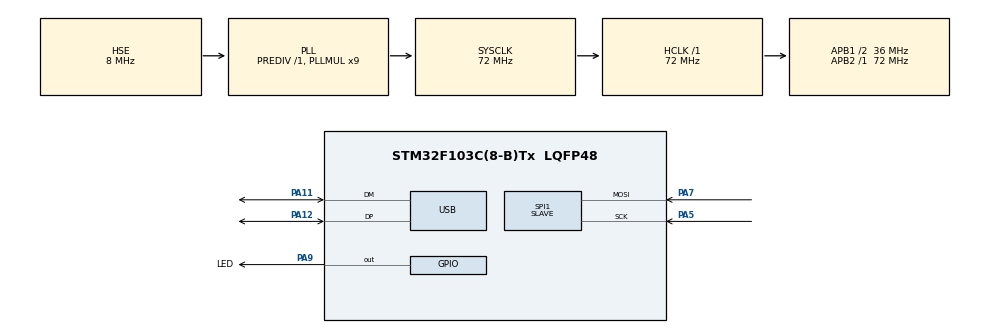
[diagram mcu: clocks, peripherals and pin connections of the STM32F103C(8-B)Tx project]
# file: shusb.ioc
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IWDG.Prescaler=IWDG_PRESCALER_256
Mcu.Family=STM32F1
Mcu.Name=STM32F103C(8-B)Tx
Mcu.Package=LQFP48
NVIC.PriorityGroup=NVIC_PRIORITYGROUP_4
NVIC.SPI1_IRQn=true\:2\:0\:true\:false\:true\:true\:true\:true
NVIC.USB_LP_CAN1_RX0_IRQn=true\:0\:0\:false\:false\:true\:false\:true\:true
PA11.Mode=Device
PA11.Signal=USB_DM
PA12.Mode=Device
PA12.Signal=USB_DP
PA13.Mode=Serial_Wire
PA13.Signal=SYS_JTMS-SWDIO
PA14.Mode=Serial_Wire
PA14.Signal=SYS_JTCK-SWCLK
PA5.Mode=RX_Only_Simplex_Unidirect_Slave
PA5.Signal=SPI1_SCK
PA7.Mode=RX_Only_Simplex_Unidirect_Slave
PA7.Signal=SPI1_MOSI
PA9.GPIO_Label=LED
PA9.Signal=GPIO_Output
PD0-OSC_IN.Mode=HSE-External-Oscillator
PD0-OSC_IN.Signal=RCC_OSC_IN
PD1-OSC_OUT.Mode=HSE-External-Oscillator
PD1-OSC_OUT.Signal=RCC_OSC_OUT
ProjectManager.HeapSize=0x200
ProjectManager.StackSize=0x400
ProjectManager.TargetToolchain=STM32CubeIDE
RCC.AHBFreq_Value=72000000
RCC.APB1CLKDivider=RCC_HCLK_DIV2
RCC.APB1Freq_Value=36000000
RCC.APB1TimFreq_Value=72000000
RCC.APB2Freq_Value=72000000
RCC.APB2TimFreq_Value=72000000
RCC.HCLKFreq_Value=72000000
RCC.PLLMUL=RCC_PLL_MUL9
RCC.SYSCLKFreq_VALUE=72000000
RCC.SYSCLKSource=RCC_SYSCLKSOURCE_PLLCLK
RCC.USBFreq_Value=48000000
RCC.USBPrescaler=RCC_USBCLKSOURCE_PLL_DIV1_5
SPI1.CLKPhase=SPI_PHASE_2EDGE
SPI1.CLKPolarity=SPI_POLARITY_HIGH
SPI1.Direction=SPI_DIRECTION_2LINES_RXONLY
SPI1.FirstBit=SPI_FIRSTBIT_LSB
SPI1.Mode=SPI_MODE_SLAVE
SPI1.VirtualType=VM_SLAVE
USB_DEVICE.CLASS_NAME_FS=CUSTOM_HID
USB_DEVICE.CUSTOM_HID_FS_BINTERVAL=10
USB_DEVICE.MANUFACTURER_STRING=kluhtrust.cz
USB_DEVICE.PRODUCT_STRING_CUSTOMHID_FS=ShoopLERA
USB_DEVICE.USBD_CUSTOMHID_OUTREPORT_BUF_SIZE=8
USB_DEVICE.USBD_CUSTOM_HID_REPORT_DESC_SIZE=63
USB_DEVICE.VirtualMode=CustomHid
USB_DEVICE.VirtualModeFS=Custom_Hid_FS
VP_IWDG_VS_IWDG.Mode=IWDG_Activate
VP_USB_DEVICE_VS_USB_DEVICE_CUSTOM_HID_FS.Mode=CUSTOM_HID_FS
board=custom

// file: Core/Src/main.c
/* USER CODE BEGIN Header */
/**
  ******************************************************************************
  * @file           : main.c
  * @brief          : Main program body
  ******************************************************************************
  * @attention
  *
  * Copyright (c) 2025 STMicroelectronics.
  * All rights reserved.
  *
  * This software is licensed under terms that can be found in the LICENSE file
  * in the root directory of this software component.
  * If no LICENSE file comes with this software, it is provided AS-IS.
  *
  ******************************************************************************
  */
/* USER CODE END Header */
#include "main.h"
#include "usb_device.h"

/* USER CODE BEGIN Includes */
#include <ctype.h>
#include "usbd_custom_hid_if.h"
/* USER CODE END Includes */

/* USER CODE BEGIN PTD */

typedef union {
	  uint8_t  buf[4];
	  struct {
		  uint32_t status:8;	// not SPI transfered
		  uint32_t number:20;
		  uint32_t sign:1;		// 1 = negative
		  uint32_t p2:2;
		  uint32_t unit:1;		// 1 = inches
	  } s;
}DATA;

typedef enum {
	IDLE,
	WAIT,
	SYNC,
	START,
	RECV,
	SEND,
	STOP
} state;

/* USER CODE END PTD */

/* USER CODE BEGIN PD */

#define EMPTY 0
#define RECVD 1
#define ERROR 2

/* USER CODE END PD */

IWDG_HandleTypeDef hiwdg;

SPI_HandleTypeDef hspi1;

/* USER CODE BEGIN PV */

char userbuf[USBD_CUSTOMHID_OUTREPORT_BUF_SIZE];
DATA data;

uint8_t spi_buf[3];

extern uint64_t _estack;

volatile state st = IDLE;

/* USER CODE END PV */

void SystemClock_Config(void);
static void MX_GPIO_Init(void);
static void MX_SPI1_Init(void);
static void MX_IWDG_Init(void);
/* USER CODE BEGIN PFP */
int8_t USBD_CUSTOM_HID_SendReport_FS(uint8_t *report, uint16_t len);
/* USER CODE END PFP */

/* USER CODE BEGIN 0 */

void feed_watchdog()
{
	static uint32_t timeout = 1000;
	uint32_t ctime = HAL_GetTick();
	if (timeout < ctime)
	{
		HAL_IWDG_Refresh(&hiwdg);
		timeout = 1000 + ctime;
	}
}

static inline void clear_data()
{
	memset(&data, EMPTY, sizeof(data));
}

void HAL_SPI_RxCpltCallback(SPI_HandleTypeDef *hspi)
{
	if(hspi->Instance==SPI1)
	{
		if (__HAL_SPI_GET_FLAG(hspi, SPI_FLAG_MODF) || __HAL_SPI_GET_FLAG(hspi, SPI_FLAG_OVR))
		{
			if(RECV == st)
				st = STOP;
		}
		else
		{
			if(RECV == st)
			{
				memcpy(data.buf + 1, spi_buf, sizeof(spi_buf));
				st = SEND;
			}
		}
		/* must be after any transmit to work (why?)*/
		__HAL_SPI_CLEAR_MODFFLAG(hspi);
		__HAL_SPI_CLEAR_OVRFLAG(hspi);
	}
}

void send(char *ch)
{
	uint8_t report[8] = {2,0,74,77};	// shift+home+end

	USBD_CUSTOM_HID_SendReport_FS(report, sizeof(report));
	feed_watchdog();
	HAL_Delay(32);
	feed_watchdog();
	memset(report, 0, sizeof(report));
	USBD_CUSTOM_HID_SendReport_FS(report, sizeof(report));
	feed_watchdog();
	HAL_Delay(32);
	feed_watchdog();

	while (*ch)
	{
		uint8_t i = 2;
		while (i < 8 && *ch)
		{
			if (isdigit((int)*ch))
			{
				report[i] = (*ch - 39) % 10 + 89;
			}
			else
			{
				switch (*ch)
				{
				case 'i': report[i] = 12; break;
				case 'm': report[i] = 16; break;
				case 'n': report[i] = 17; break;
				case ' ': report[i] = 44; break;
				case '-': report[i] = 86; break;
				case '+': report[i] = 87; break;
				case '.': report[i] = 99; break;
				default : ch++; continue;
				};
			}
			for (uint8_t j = 2; j <= i; j++)
			{
				if (i != j)
				{
					if (report[i] == report[j])
					{
						report[i] = 0;
						goto flush;
					}
				}
			}
			ch++;
			i++;
		}
		flush: USBD_CUSTOM_HID_SendReport_FS(report, sizeof(report));
		feed_watchdog();
		HAL_Delay(32);
		feed_watchdog();
		memset(report, 0, sizeof(report));
		USBD_CUSTOM_HID_SendReport_FS(report, sizeof(report));
		feed_watchdog();
		HAL_Delay(32);
	}
}

void data2string(const DATA *data, char *string, uint8_t len) {
	int val = data->s.number;
	if (data->s.unit) {
		val *= 5;
		snprintf(string, len, "%c%01i.%04i in",
				(data->s.sign ? '-' : '+'), val / 10000, val % 10000);
	} else {
		snprintf(string, len, "%c%03i.%02i mm",
				(data->s.sign ? '-' : '+'), val / 100, val % 100);
	}
}

int checkcmd(char *command)
{
	int retval = !strncmp(command,userbuf,sizeof(userbuf));
	if(retval)
		memset(userbuf,0,sizeof(userbuf));
	return retval;
}

/* USER CODE END 0 */

int main(void)
{

  /* USER CODE BEGIN 1 */

	char string[15];

  /* USER CODE END 1 */

  /* MCU Configuration--------------------------------------------------------*/

  /* Reset of all peripherals, Initializes the Flash interface and the Systick. */
  HAL_Init();

  /* Configure the system clock */
  SystemClock_Config();

  /* Initialize all configured peripherals */
  MX_GPIO_Init();
  MX_SPI1_Init();
  MX_USB_DEVICE_Init();
  MX_IWDG_Init();
  /* USER CODE BEGIN 2 */

  HAL_GPIO_WritePin(LED_GPIO_Port, LED_Pin, GPIO_PIN_RESET);

  uint32_t wait = 0;

  /* USER CODE END 2 */

  /* Infinite loop */
  /* USER CODE BEGIN WHILE */

  while (1)
  {
		feed_watchdog();

    /* USER CODE END WHILE */

    /* USER CODE BEGIN 3 */

		switch(st)
		{
		case IDLE:
			if(checkcmd("load"))
			{
				_estack = 0xDEADBEEFCC00FFEEULL;
				HAL_NVIC_SystemReset();
			}
			if((GPIO_PIN_SET == HAL_GPIO_ReadPin(GPIOA, GPIO_PIN_5)) && checkcmd("send"))
			{
				clear_data();
				st = WAIT;
				wait = 1000 + HAL_GetTick();
			}
			break;
		case WAIT:
			if(wait < HAL_GetTick())
			{
				st = STOP;
			}
			if(GPIO_PIN_RESET == HAL_GPIO_ReadPin(GPIOA, GPIO_PIN_5))
				st = SYNC;
			break;
		case SYNC:
			wait = 10 + HAL_GetTick();
			HAL_GPIO_WritePin(LED_GPIO_Port, LED_Pin, GPIO_PIN_SET);
			st = START;
			break;
		case START:
			if(wait < HAL_GetTick())
			{
				st = RECV;
				while(HAL_OK != HAL_SPI_Receive_IT(&hspi1, spi_buf, sizeof(spi_buf)));
				wait = 200 + HAL_GetTick();
			}
			break;
		case RECV:
			if(wait < HAL_GetTick())
			{
				st = STOP;
			}
			// waiting for data
			break;
		case SEND:
			data2string(&data, string, sizeof(string));
			send(string);
			st = STOP;
			break;
		case STOP:
			HAL_GPIO_WritePin(LED_GPIO_Port, LED_Pin, GPIO_PIN_RESET);
			st = IDLE;
			break;
		}
  }
  /* USER CODE END 3 */
}

void SystemClock_Config(void)
{
  RCC_OscInitTypeDef RCC_OscInitStruct = {0};
  RCC_ClkInitTypeDef RCC_ClkInitStruct = {0};
  RCC_PeriphCLKInitTypeDef PeriphClkInit = {0};

  /** Initializes the RCC Oscillators according to the specified parameters
  * in the RCC_OscInitTypeDef structure.
  */
  RCC_OscInitStruct.OscillatorType = RCC_OSCILLATORTYPE_LSI|RCC_OSCILLATORTYPE_HSE;
  RCC_OscInitStruct.HSEState = RCC_HSE_ON;
  RCC_OscInitStruct.HSEPredivValue = RCC_HSE_PREDIV_DIV1;
  RCC_OscInitStruct.HSIState = RCC_HSI_ON;
  RCC_OscInitStruct.LSIState = RCC_LSI_ON;
  RCC_OscInitStruct.PLL.PLLState = RCC_PLL_ON;
  RCC_OscInitStruct.PLL.PLLSource = RCC_PLLSOURCE_HSE;
  RCC_OscInitStruct.PLL.PLLMUL = RCC_PLL_MUL9;
  if (HAL_RCC_OscConfig(&RCC_OscInitStruct) != HAL_OK)
  {
    Error_Handler();
  }

  /** Initializes the CPU, AHB and APB buses clocks
  */
  RCC_ClkInitStruct.ClockType = RCC_CLOCKTYPE_HCLK|RCC_CLOCKTYPE_SYSCLK
                              |RCC_CLOCKTYPE_PCLK1|RCC_CLOCKTYPE_PCLK2;
  RCC_ClkInitStruct.SYSCLKSource = RCC_SYSCLKSOURCE_PLLCLK;
  RCC_ClkInitStruct.AHBCLKDivider = RCC_SYSCLK_DIV1;
  RCC_ClkInitStruct.APB1CLKDivider = RCC_HCLK_DIV2;
  RCC_ClkInitStruct.APB2CLKDivider = RCC_HCLK_DIV1;

  if (HAL_RCC_ClockConfig(&RCC_ClkInitStruct, FLASH_LATENCY_2) != HAL_OK)
  {
    Error_Handler();
  }
  PeriphClkInit.PeriphClockSelection = RCC_PERIPHCLK_USB;
  PeriphClkInit.UsbClockSelection = RCC_USBCLKSOURCE_PLL_DIV1_5;
  if (HAL_RCCEx_PeriphCLKConfig(&PeriphClkInit) != HAL_OK)
  {
    Error_Handler();
  }
}

static void MX_IWDG_Init(void)
{

  /* USER CODE BEGIN IWDG_Init 1 */
#if 1
  /* USER CODE END IWDG_Init 1 */
  hiwdg.Instance = IWDG;
  hiwdg.Init.Prescaler = IWDG_PRESCALER_256;
  hiwdg.Init.Reload = 4095;
  if (HAL_IWDG_Init(&hiwdg) != HAL_OK)
  {
    Error_Handler();
  }
  /* USER CODE BEGIN IWDG_Init 2 */
#endif
  /* USER CODE END IWDG_Init 2 */

}

static void MX_SPI1_Init(void)
{

  /* SPI1 parameter configuration*/
  hspi1.Instance = SPI1;
  hspi1.Init.Mode = SPI_MODE_SLAVE;
  hspi1.Init.Direction = SPI_DIRECTION_2LINES_RXONLY;
  hspi1.Init.DataSize = SPI_DATASIZE_8BIT;
  hspi1.Init.CLKPolarity = SPI_POLARITY_HIGH;
  hspi1.Init.CLKPhase = SPI_PHASE_2EDGE;
  hspi1.Init.NSS = SPI_NSS_SOFT;
  hspi1.Init.FirstBit = SPI_FIRSTBIT_LSB;
  hspi1.Init.TIMode = SPI_TIMODE_DISABLE;
  hspi1.Init.CRCCalculation = SPI_CRCCALCULATION_DISABLE;
  hspi1.Init.CRCPolynomial = 10;
  if (HAL_SPI_Init(&hspi1) != HAL_OK)
  {
    Error_Handler();
  }

}

static void MX_GPIO_Init(void)
{
  GPIO_InitTypeDef GPIO_InitStruct = {0};

  /* GPIO Ports Clock Enable */
  __HAL_RCC_GPIOD_CLK_ENABLE();
  __HAL_RCC_GPIOA_CLK_ENABLE();

  /*Configure GPIO pin Output Level */
  HAL_GPIO_WritePin(LED_GPIO_Port, LED_Pin, GPIO_PIN_RESET);

  /*Configure GPIO pin : LED_Pin */
  GPIO_InitStruct.Pin = LED_Pin;
  GPIO_InitStruct.Mode = GPIO_MODE_OUTPUT_PP;
  GPIO_InitStruct.Pull = GPIO_NOPULL;
  GPIO_InitStruct.Speed = GPIO_SPEED_FREQ_LOW;
  HAL_GPIO_Init(LED_GPIO_Port, &GPIO_InitStruct);

}

void Error_Handler(void)
{
  __disable_irq();
  while (1)
  {
  }
}
